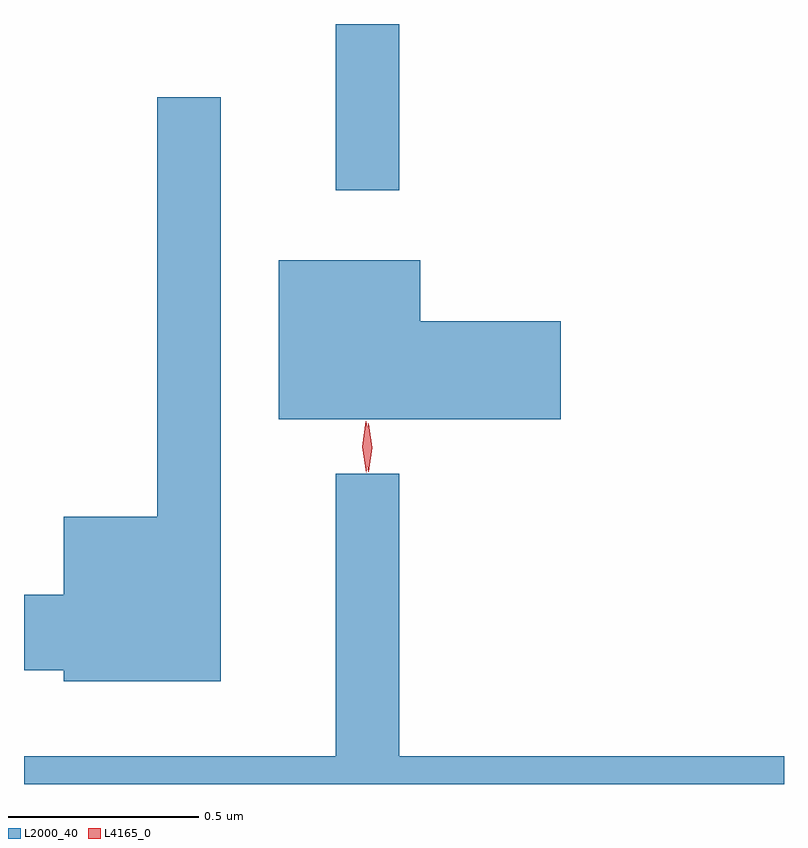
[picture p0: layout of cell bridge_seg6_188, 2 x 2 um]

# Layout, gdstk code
import gdstk
lib = gdstk.Library(unit=1e-6, precision=1e-09)
def R(c, l, rs):  # rectangles x0, y0, x1, y1
    for r in rs: c.add(gdstk.rectangle(r[:2], r[2:], *l))
def P(c, l, *ps):  # polygons
    for p in ps: c.add(gdstk.Polygon(p, *l))
L2000_40 = (2000, 40)
L4165_0 = (4165, 0)

bridge_seg6_188 = lib.new_cell('bridge_seg6_188')
R(bridge_seg6_188, L2000_40, [(1067.011,1569.553,1067.179,1569.991)])
P(bridge_seg6_188, L2000_40, [(1066.709,1569.798),(1066.541,1569.798),(1066.541,1568.694),(1066.296,1568.694),(1066.296,1568.489),(1066.191,1568.489),(1066.191,1568.291),(1066.296,1568.291),(1066.296,1568.261),(1066.709,1568.261)],
  [(1067.604,1569.209),(1067.234,1569.209),(1067.234,1569.369),(1066.861,1569.369),(1066.861,1568.951),(1067.604,1568.951)],
  [(1068.191,1568.064),(1067.179,1568.064),(1067.179,1568.808),(1067.011,1568.808),(1067.011,1568.064),(1066.191,1568.064),(1066.191,1567.991),(1068.191,1567.991)])
P(bridge_seg6_188, L4165_0, [(1067.097,1568.813),(1067.097,1568.813),(1067.087,1568.876),(1067.097,1568.939),(1067.097,1568.94),(1067.098,1568.939),(1067.107,1568.876),(1067.098,1568.813)],
  [(1067.091,1568.81),(1067.091,1568.81),(1067.081,1568.878),(1067.09,1568.945),(1067.09,1568.946),(1067.091,1568.945),(1067.101,1568.878),(1067.092,1568.81)])

lib.write_gds('bridge_seg6_188.gds')
